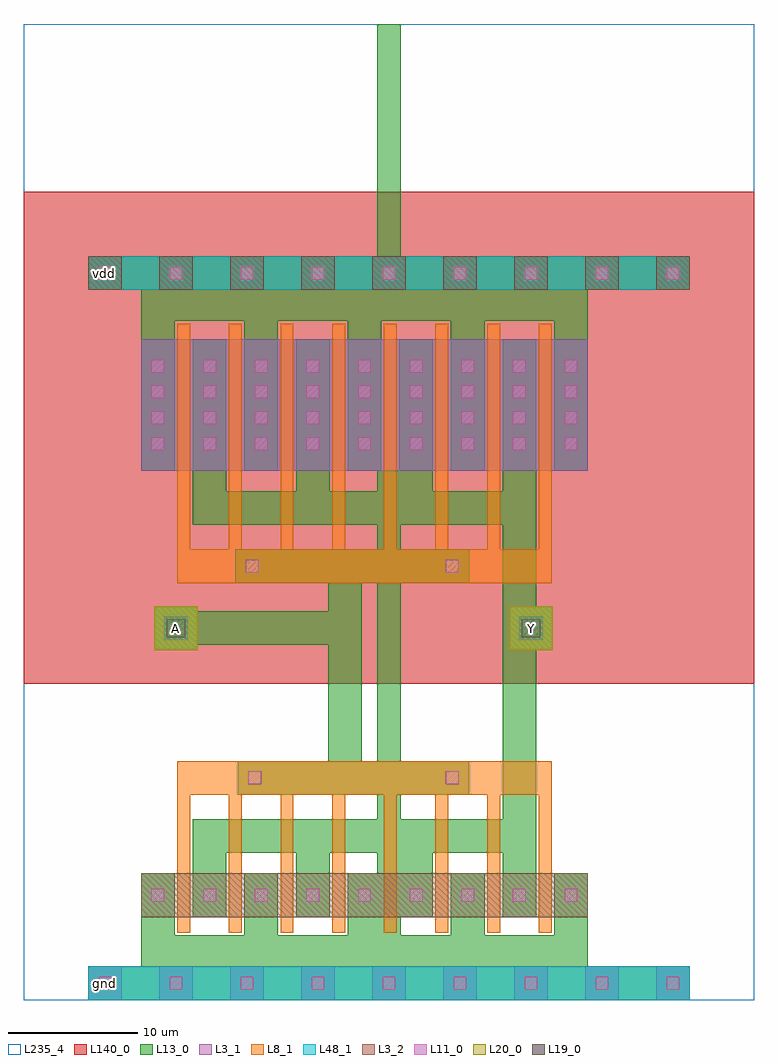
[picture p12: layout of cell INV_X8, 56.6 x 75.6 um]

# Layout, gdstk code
import gdstk
lib = gdstk.Library(unit=1e-6, precision=1e-09)
def R(c, l, rs):  # rectangles x0, y0, x1, y1
    for r in rs: c.add(gdstk.rectangle(r[:2], r[2:], *l))
def A(c, l, x, y, w, h, nx, ny, dx, dy):  # array of equal rectangles
    R(c, l, [(x+i*dx, y+j*dy, x+i*dx+w, y+j*dy+h) for i in range(nx) for j in range(ny)])
def P(c, l, *ps):  # polygons
    for p in ps: c.add(gdstk.Polygon(p, *l))
L3_1 = (3, 1)
L3_2 = (3, 2)
L8_1 = (8, 1)
L11_0 = (11, 0)
L13_0 = (13, 0)
L19_0 = (19, 0)
L20_0 = (20, 0)
L48_1 = (48, 1)
L140_0 = (140, 0)
L235_4 = (235, 4)

inv_x8 = lib.new_cell('INV_X8')
A(inv_x8, L3_1, 5, 0, 2.6, 2.6, 9, 1, 5.5, 0)
R(inv_x8, L3_1, [(9.1,41,43.7,51.2)])
A(inv_x8, L3_2, 5, 55, 2.6, 2.6, 9, 1, 5.5, 0)
R(inv_x8, L3_2, [(9.1,6.4,43.7,9.8)])
P(inv_x8, L8_1, [(11.9,5.2),(11.9,18.5),(40.9,18.5),(40.9,5.2),(39.9,5.2),(39.9,15.9),(36.9,15.9),(36.9,5.2),(35.9,5.2),(35.9,15.9),(32.9,15.9),(32.9,5.2),(31.9,5.2),(31.9,15.9),(28.9,15.9),(28.9,5.2),(27.9,5.2),(27.9,15.9),(24.9,15.9),(24.9,5.2),(23.9,5.2),(23.9,15.9),(20.9,15.9),(20.9,5.2),(19.9,5.2),(19.9,15.9),(16.9,15.9),(16.9,5.2),(15.9,5.2),(15.9,15.9),(12.9,15.9),(12.9,5.2)],
  [(11.9,32.3),(11.9,52.4),(12.9,52.4),(12.9,34.9),(15.9,34.9),(15.9,52.4),(16.9,52.4),(16.9,34.9),(19.9,34.9),(19.9,52.4),(20.9,52.4),(20.9,34.9),(23.9,34.9),(23.9,52.4),(24.9,52.4),(24.9,34.9),(27.9,34.9),(27.9,52.4),(28.9,52.4),(28.9,34.9),(31.9,34.9),(31.9,52.4),(32.9,52.4),(32.9,34.9),(35.9,34.9),(35.9,52.4),(36.9,52.4),(36.9,34.9),(39.9,34.9),(39.9,52.4),(40.9,52.4),(40.9,32.3)])
A(inv_x8, L11_0, 5.8, 0.8, 1, 1, 9, 2, 5.5, 55)
A(inv_x8, L11_0, 9.9, 7.6, 1, 1, 9, 2, 4, 35)
A(inv_x8, L11_0, 9.9, 44.6, 1, 1, 9, 3, 4, 2)
R(inv_x8, L11_0, [(17.4,16.7,18.4,17.7), (32.7,16.7,33.7,17.7), (17.2,33.1,18.2,34.1), (32.7,33.1,33.7,34.1)])
P(inv_x8, L13_0, [(5,0),(5,2.6),(9.1,2.6),(9.1,9.8),(11.7,9.8),(11.7,5),(17.1,5),(17.1,9.8),(19.7,9.8),(19.7,5),(25.1,5),(25.1,9.8),(27.4,9.8),(27.4,11.4),(23.7,11.4),(23.7,6.4),(21.1,6.4),(21.1,11.4),(15.7,11.4),(15.7,6.4),(13.1,6.4),(13.1,14),(27.4,14),(27.4,15.9),(16.6,15.9),(16.6,18.5),(23.6,18.5),(23.6,27.5),(13.5,27.5),(13.5,27.1),(10.1,27.1),(10.1,30.5),(13.5,30.5),(13.5,30.1),(23.6,30.1),(23.6,32.3),(26.2,32.3),(26.2,18.5),(27.4,18.5),(27.4,32.3),(16.4,32.3),(16.4,34.9),(27.4,34.9),(27.4,36.8),(29.2,36.8),(29.2,34.9),(34.5,34.9),(34.5,32.3),(29.2,32.3),(29.2,18.5),(34.5,18.5),(34.5,15.9),(29.2,15.9),(29.2,14),(37.1,14),(37.1,36.8),(13.1,36.8),(13.1,51.2),(15.7,51.2),(15.7,39.4),(21.1,39.4),(21.1,51.2),(23.7,51.2),(23.7,39.4),(27.4,39.4),(27.4,41),(25.1,41),(25.1,52.6),(19.7,52.6),(19.7,41),(17.1,41),(17.1,52.6),(11.7,52.6),(11.7,41),(9.1,41),(9.1,55),(5,55),(5,57.6),(27.4,57.6),(27.4,75.6),(29.2,75.6),(29.2,57.6),(51.6,57.6),(51.6,55),(43.7,55),(43.7,41),(41.1,41),(41.1,52.6),(35.7,52.6),(35.7,41),(33.1,41),(33.1,52.6),(27.7,52.6),(27.7,41),(29.1,41),(29.1,51.2),(31.7,51.2),(31.7,39.4),(37.1,39.4),(37.1,51.2),(39.7,51.2),(39.7,30.5),(41,30.5),(41,27.1),(39.7,27.1),(39.7,6.4),(37.1,6.4),(37.1,11.4),(31.7,11.4),(31.7,6.4),(29.2,6.4),(29.2,5),(33.1,5),(33.1,9.8),(35.7,9.8),(35.7,5),(41.1,5),(41.1,9.8),(43.7,9.8),(43.7,2.6),(51.6,2.6),(51.6,0)])
R(inv_x8, L19_0, [(11.1,28.1,12.5,29.5), (38.6,28.1,40,29.5)])
R(inv_x8, L20_0, [(10.1,27.1,13.5,30.5), (37.6,27.1,41,30.5)])
R(inv_x8, L48_1, [(5,0,51.6,2.6), (10.9,27.9,12.7,29.7), (38.4,27.9,40.2,29.7), (5,55,51.6,57.6)])
R(inv_x8, L140_0, [(0,24.5,56.6,62.6)])
R(inv_x8, L235_4, [(0,0,56.6,75.6)])
inv_x8.add(gdstk.Label('Y', (39.3,28.8), layer=48, texttype=0))
inv_x8.add(gdstk.Label('A', (11.8,28.8), layer=48, texttype=0))
inv_x8.add(gdstk.Label('vdd', (6.3,56.3), layer=48, texttype=0))
inv_x8.add(gdstk.Label('gnd', (6.3,1.3), layer=48, texttype=0))
inv_x8.add(gdstk.Label('A', (11.8,28.8), layer=49, texttype=0))
inv_x8.add(gdstk.Label('Y', (39.3,28.8), layer=49, texttype=0))

lib.write_gds('INV_X8.gds')
